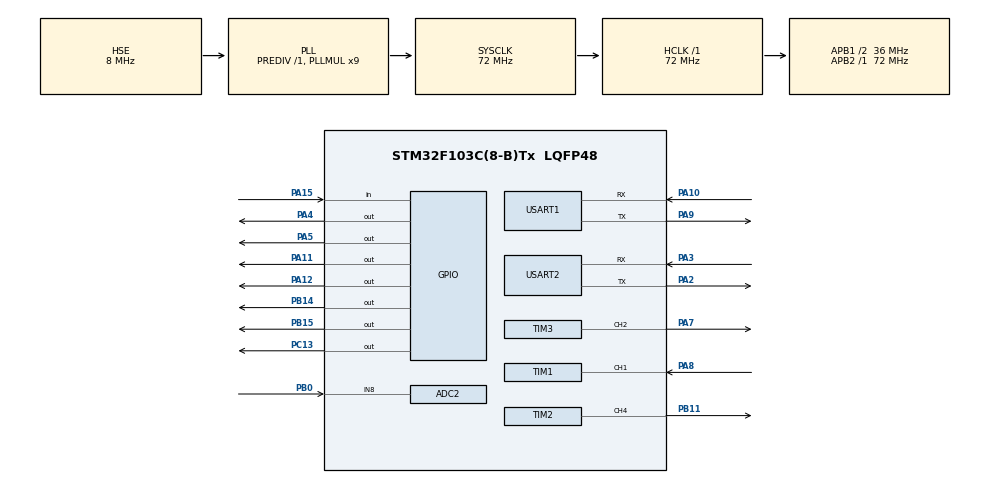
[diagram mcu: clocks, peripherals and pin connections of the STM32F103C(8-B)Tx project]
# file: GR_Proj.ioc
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ADC2.Channel-0\#ChannelRegularConversion=ADC_CHANNEL_8
ADC2.ContinuousConvMode=ENABLE
ADC2.NbrOfConversionFlag=1
ADC2.Rank-0\#ChannelRegularConversion=1
ADC2.SamplingTime-0\#ChannelRegularConversion=ADC_SAMPLETIME_1CYCLE_5
FREERTOS.BinarySemaphores01=myBinarySem01,Dynamic,NULL
FREERTOS.INCLUDE_xSemaphoreGetMutexHolder=1
FREERTOS.Tasks01=Move_Task,0,128,Start_Move_Task,Default,NULL,Dynamic,NULL,NULL;Temp_Task,0,128,StartTemp_Task,Default,NULL,Dynamic,NULL,NULL;Ultra_Task,0,128,Start_Ultra_Task,Default,NULL,Dynamic,NULL,NULL;Confirm_Task,-1,128,Start_Confirm_Task,Default,NULL,Dynamic,NULL,NULL
FREERTOS.configMAX_PRIORITIES=4
FREERTOS.configUSE_NEWLIB_REENTRANT=1
Mcu.Family=STM32F1
Mcu.Name=STM32F103C(8-B)Tx
Mcu.Package=LQFP48
NVIC.ADC1_2_IRQn=true\:5\:0\:false\:false\:true\:true\:true\:true\:true
NVIC.PVD_IRQn=true\:5\:0\:false\:false\:true\:false\:true\:true\:true
NVIC.PriorityGroup=NVIC_PRIORITYGROUP_4
NVIC.RCC_IRQn=true\:5\:0\:false\:false\:true\:false\:true\:false\:true
NVIC.TIM1_CC_IRQn=true\:5\:0\:false\:false\:true\:true\:true\:true\:true
NVIC.USART1_IRQn=true\:5\:0\:false\:false\:true\:true\:true\:true\:true
PA10.Mode=Asynchronous
PA10.Signal=USART1_RX
PA11.Signal=GPIO_Output
PA12.Signal=GPIO_Output
PA13.Mode=Serial_Wire
PA13.Signal=SYS_JTMS-SWDIO
PA14.Mode=Serial_Wire
PA14.Signal=SYS_JTCK-SWCLK
PA15.Signal=GPIO_Input
PA2.Mode=Asynchronous
PA2.Signal=USART2_TX
PA3.Mode=Asynchronous
PA3.Signal=USART2_RX
PA4.Signal=GPIO_Output
PA5.Signal=GPIO_Output
PA7.Signal=S_TIM3_CH2
PA8.Signal=S_TIM1_CH1
PA9.Mode=Asynchronous
PA9.Signal=USART1_TX
PB0.Signal=ADCx_IN8
PB11.Signal=S_TIM2_CH4
PB14.Signal=GPIO_Output
PB15.Signal=GPIO_Output
PC13-TAMPER-RTC.Signal=GPIO_Output
PD0-OSC_IN.Mode=HSE-External-Oscillator
PD0-OSC_IN.Signal=RCC_OSC_IN
PD1-OSC_OUT.Mode=HSE-External-Oscillator
PD1-OSC_OUT.Signal=RCC_OSC_OUT
ProjectManager.HeapSize=0x200
ProjectManager.StackSize=0x400
ProjectManager.TargetToolchain=STM32CubeIDE
RCC.ADCPresc=RCC_ADCPCLK2_DIV6
RCC.AHBFreq_Value=72000000
RCC.APB1CLKDivider=RCC_HCLK_DIV2
RCC.APB1Freq_Value=36000000
RCC.APB1TimFreq_Value=72000000
RCC.APB2Freq_Value=72000000
RCC.APB2TimFreq_Value=72000000
RCC.HCLKFreq_Value=72000000
RCC.PLLMUL=RCC_PLL_MUL9
RCC.PLLSourceVirtual=RCC_PLLSOURCE_HSE
RCC.SYSCLKFreq_VALUE=72000000
RCC.SYSCLKSource=RCC_SYSCLKSOURCE_PLLCLK
RCC.USBFreq_Value=72000000
SH.ADCx_IN8.0=ADC2_IN8,IN8
SH.S_TIM1_CH1.0=TIM1_CH1,Input_Capture1_from_TI1
SH.S_TIM2_CH4.0=TIM2_CH4,PWM Generation4 CH4
SH.S_TIM3_CH2.0=TIM3_CH2,PWM Generation2 CH2
TIM1.Channel-Input_Capture1_from_TI1=TIM_CHANNEL_1
TIM1.Period=0xffff-1
TIM1.Prescaler=72-1
TIM2.Channel-PWM\ Generation4\ CH4=TIM_CHANNEL_4
TIM2.CounterMode=TIM_COUNTERMODE_UP
TIM2.Period=100
TIM2.Prescaler=2000
TIM2.Pulse-PWM\ Generation4\ CH4=100
TIM3.Channel-PWM\ Generation2\ CH2=TIM_CHANNEL_2
TIM3.Period=100
TIM3.Prescaler=2000
TIM3.Pulse-PWM\ Generation2\ CH2=100
USART1.VirtualMode=VM_ASYNC
VP_FREERTOS_VS_CMSIS_V1.Mode=CMSIS_V1
board=custom

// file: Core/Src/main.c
/* USER CODE BEGIN Header */
/**
 ******************************************************************************
 * @file           : main.c
 * @brief          : Main program body
 ******************************************************************************
 * @attention
 *
 * <h2><center>&copy; Copyright (c) 2023 STMicroelectronics.
 * All rights reserved.</center></h2>
 *
 * This software component is licensed by ST under BSD 3-Clause license,
 * the "License"; You may not use this file except in compliance with the
 * License. You may obtain a copy of the License at:
 *                        opensource.org/licenses/BSD-3-Clause
 *
 ******************************************************************************
 */
/* USER CODE END Header */
#include "main.h"
#include "cmsis_os.h"

/* USER CODE BEGIN Includes */
#include "GRProj_Config.h"

/* USER CODE END Includes */

int main(void)
{

	/* MCU Configuration--------------------------------------------------------*/

	/* Reset of all peripherals, Initializes the Flash interface and the Systick. */

	HAL_Init();

	/* Configure the system clock */
	SystemClock_Config();

	/* Initialize all configured peripherals */
	MX_GPIO_Init();
	MX_USART1_UART_Init();
	MX_USART2_UART_Init();
	MX_TIM2_Init();
	MX_TIM3_Init();
	MX_ADC2_Init();
	MX_TIM1_Init();
	/* USER CODE BEGIN 2 */
	Car_INIT(&car);

	HAL_ADC_Start(&hadc2);
	HAL_TIM_IC_Start(&htim1,TIM_CHANNEL_1);

	/* Create the semaphores(s) */
	/* definition and creation of myBinarySem01 */

	osSemaphoreDef(myBinarySem01);
	myBinarySem01Handle = osSemaphoreCreate(osSemaphore(myBinarySem01), 1);

	/* Create the EventGroup */
	/* definition and creation of myEventGroupHandle */
	myEventGroupHandle = xEventGroupCreate();

	/* Create the thread(s) */
	/* definition and creation of Confirm_Task */
	osThreadDef(Confirm_Task, Start_Confirm_Task, osPriorityNormal, 0, 128);
	Confirm_TaskHandle = osThreadCreate(osThread(Confirm_Task), NULL);

	/* definition and creation of Move_Task */
	osThreadDef(Move_Task, Start_Move_Task, osPriorityAboveNormal, 0, 128);
	Move_TaskHandle = osThreadCreate(osThread(Move_Task), NULL);

	/* definition and creation of Temp_Task */
	osThreadDef(Temp_Task, StartTemp_Task, osPriorityHigh, 0, 128);
	Temp_TaskHandle = osThreadCreate(osThread(Temp_Task), NULL);

	/* definition and creation of Ultra_Task */
	osThreadDef(Ultra_Task, Start_Ultra_Task, osPriorityHigh, 0, 128);
	Ultra_TaskHandle = osThreadCreate(osThread(Ultra_Task), NULL);

	/* Start scheduler */
	osKernelStart();

	/* USER CODE END 2 */

	/* We should never get here as control is now taken by the scheduler */
	/* Infinite loop */
	while (1)
	{

	}
}

void SystemClock_Config(void)
{
	RCC_OscInitTypeDef RCC_OscInitStruct = {0};
	RCC_ClkInitTypeDef RCC_ClkInitStruct = {0};
	RCC_PeriphCLKInitTypeDef PeriphClkInit = {0};

	/** Initializes the RCC Oscillators according to the specified parameters
	 * in the RCC_OscInitTypeDef structure.
	 */
	RCC_OscInitStruct.OscillatorType = RCC_OSCILLATORTYPE_HSE;
	RCC_OscInitStruct.HSEState = RCC_HSE_ON;
	RCC_OscInitStruct.HSEPredivValue = RCC_HSE_PREDIV_DIV1;
	RCC_OscInitStruct.HSIState = RCC_HSI_ON;
	RCC_OscInitStruct.PLL.PLLState = RCC_PLL_ON;
	RCC_OscInitStruct.PLL.PLLSource = RCC_PLLSOURCE_HSE;
	RCC_OscInitStruct.PLL.PLLMUL = RCC_PLL_MUL9;
	if (HAL_RCC_OscConfig(&RCC_OscInitStruct) != HAL_OK)
	{
		Error_Handler();
	}

	/** Initializes the CPU, AHB and APB buses clocks
	 */
	RCC_ClkInitStruct.ClockType = RCC_CLOCKTYPE_HCLK|RCC_CLOCKTYPE_SYSCLK
			|RCC_CLOCKTYPE_PCLK1|RCC_CLOCKTYPE_PCLK2;
	RCC_ClkInitStruct.SYSCLKSource = RCC_SYSCLKSOURCE_PLLCLK;
	RCC_ClkInitStruct.AHBCLKDivider = RCC_SYSCLK_DIV1;
	RCC_ClkInitStruct.APB1CLKDivider = RCC_HCLK_DIV2;
	RCC_ClkInitStruct.APB2CLKDivider = RCC_HCLK_DIV1;

	if (HAL_RCC_ClockConfig(&RCC_ClkInitStruct, FLASH_LATENCY_2) != HAL_OK)
	{
		Error_Handler();
	}
	PeriphClkInit.PeriphClockSelection = RCC_PERIPHCLK_ADC;
	PeriphClkInit.AdcClockSelection = RCC_ADCPCLK2_DIV6;
	if (HAL_RCCEx_PeriphCLKConfig(&PeriphClkInit) != HAL_OK)
	{
		Error_Handler();
	}
}

static void MX_ADC2_Init(void)
{

	ADC_ChannelConfTypeDef sConfig = {0};

	/** Common config
	 */
	hadc2.Instance = ADC2;
	hadc2.Init.ScanConvMode = ADC_SCAN_DISABLE;
	hadc2.Init.ContinuousConvMode = ENABLE;
	hadc2.Init.DiscontinuousConvMode = DISABLE;
	hadc2.Init.ExternalTrigConv = ADC_SOFTWARE_START;
	hadc2.Init.DataAlign = ADC_DATAALIGN_RIGHT;
	hadc2.Init.NbrOfConversion = 1;
	if (HAL_ADC_Init(&hadc2) != HAL_OK)
	{
		Error_Handler();
	}

	/** Configure Regular Channel
	 */
	sConfig.Channel = ADC_CHANNEL_8;
	sConfig.Rank = ADC_REGULAR_RANK_1;
	sConfig.SamplingTime = ADC_SAMPLETIME_1CYCLE_5;
	if (HAL_ADC_ConfigChannel(&hadc2, &sConfig) != HAL_OK)
	{
		Error_Handler();
	}

}

static void MX_TIM1_Init(void)
{

	TIM_MasterConfigTypeDef sMasterConfig = {0};
	TIM_IC_InitTypeDef sConfigIC = {0};

	htim1.Instance = TIM1;
	htim1.Init.Prescaler = 72-1;
	htim1.Init.CounterMode = TIM_COUNTERMODE_UP;
	htim1.Init.Period = 0xffff-1;
	htim1.Init.ClockDivision = TIM_CLOCKDIVISION_DIV1;
	htim1.Init.RepetitionCounter = 0;
	htim1.Init.AutoReloadPreload = TIM_AUTORELOAD_PRELOAD_DISABLE;
	if (HAL_TIM_IC_Init(&htim1) != HAL_OK)
	{
		Error_Handler();
	}
	sMasterConfig.MasterOutputTrigger = TIM_TRGO_RESET;
	sMasterConfig.MasterSlaveMode = TIM_MASTERSLAVEMODE_DISABLE;
	if (HAL_TIMEx_MasterConfigSynchronization(&htim1, &sMasterConfig) != HAL_OK)
	{
		Error_Handler();
	}
	sConfigIC.ICPolarity = TIM_INPUTCHANNELPOLARITY_RISING;
	sConfigIC.ICSelection = TIM_ICSELECTION_DIRECTTI;
	sConfigIC.ICPrescaler = TIM_ICPSC_DIV1;
	sConfigIC.ICFilter = 0;
	if (HAL_TIM_IC_ConfigChannel(&htim1, &sConfigIC, TIM_CHANNEL_1) != HAL_OK)
	{
		Error_Handler();
	}

}

static void MX_TIM2_Init(void)
{

	TIM_MasterConfigTypeDef sMasterConfig = {0};
	TIM_OC_InitTypeDef sConfigOC = {0};

	htim2.Instance = TIM2;
	htim2.Init.Prescaler = 2000;
	htim2.Init.CounterMode = TIM_COUNTERMODE_UP;
	htim2.Init.Period = 100;
	htim2.Init.ClockDivision = TIM_CLOCKDIVISION_DIV1;
	htim2.Init.AutoReloadPreload = TIM_AUTORELOAD_PRELOAD_DISABLE;
	if (HAL_TIM_PWM_Init(&htim2) != HAL_OK)
	{
		Error_Handler();
	}
	sMasterConfig.MasterOutputTrigger = TIM_TRGO_RESET;
	sMasterConfig.MasterSlaveMode = TIM_MASTERSLAVEMODE_DISABLE;
	if (HAL_TIMEx_MasterConfigSynchronization(&htim2, &sMasterConfig) != HAL_OK)
	{
		Error_Handler();
	}
	sConfigOC.OCMode = TIM_OCMODE_PWM1;
	sConfigOC.Pulse = 100;
	sConfigOC.OCPolarity = TIM_OCPOLARITY_HIGH;
	sConfigOC.OCFastMode = TIM_OCFAST_DISABLE;
	if (HAL_TIM_PWM_ConfigChannel(&htim2, &sConfigOC, TIM_CHANNEL_4) != HAL_OK)
	{
		Error_Handler();
	}
	HAL_TIM_MspPostInit(&htim2);

}

static void MX_TIM3_Init(void)
{

	TIM_MasterConfigTypeDef sMasterConfig = {0};
	TIM_OC_InitTypeDef sConfigOC = {0};

	htim3.Instance = TIM3;
	htim3.Init.Prescaler = 2000;
	htim3.Init.CounterMode = TIM_COUNTERMODE_UP;
	htim3.Init.Period = 100;
	htim3.Init.ClockDivision = TIM_CLOCKDIVISION_DIV1;
	htim3.Init.AutoReloadPreload = TIM_AUTORELOAD_PRELOAD_DISABLE;
	if (HAL_TIM_PWM_Init(&htim3) != HAL_OK)
	{
		Error_Handler();
	}
	sMasterConfig.MasterOutputTrigger = TIM_TRGO_RESET;
	sMasterConfig.MasterSlaveMode = TIM_MASTERSLAVEMODE_DISABLE;
	if (HAL_TIMEx_MasterConfigSynchronization(&htim3, &sMasterConfig) != HAL_OK)
	{
		Error_Handler();
	}
	sConfigOC.OCMode = TIM_OCMODE_PWM1;
	sConfigOC.Pulse = 100;
	sConfigOC.OCPolarity = TIM_OCPOLARITY_HIGH;
	sConfigOC.OCFastMode = TIM_OCFAST_DISABLE;
	if (HAL_TIM_PWM_ConfigChannel(&htim3, &sConfigOC, TIM_CHANNEL_2) != HAL_OK)
	{
		Error_Handler();
	}
	HAL_TIM_MspPostInit(&htim3);

}

static void MX_USART1_UART_Init(void)
{

	huart1.Instance = USART1;
	huart1.Init.BaudRate = 115200;
	huart1.Init.WordLength = UART_WORDLENGTH_8B;
	huart1.Init.StopBits = UART_STOPBITS_1;
	huart1.Init.Parity = UART_PARITY_NONE;
	huart1.Init.Mode = UART_MODE_TX_RX;
	huart1.Init.HwFlowCtl = UART_HWCONTROL_NONE;
	huart1.Init.OverSampling = UART_OVERSAMPLING_16;
	if (HAL_UART_Init(&huart1) != HAL_OK)
	{
		Error_Handler();
	}

}

static void MX_USART2_UART_Init(void)
{

	huart2.Instance = USART2;
	huart2.Init.BaudRate = 115200;
	huart2.Init.WordLength = UART_WORDLENGTH_8B;
	huart2.Init.StopBits = UART_STOPBITS_1;
	huart2.Init.Parity = UART_PARITY_NONE;
	huart2.Init.Mode = UART_MODE_TX_RX;
	huart2.Init.HwFlowCtl = UART_HWCONTROL_NONE;
	huart2.Init.OverSampling = UART_OVERSAMPLING_16;
	if (HAL_UART_Init(&huart2) != HAL_OK)
	{
		Error_Handler();
	}

}

static void MX_GPIO_Init(void)
{
	GPIO_InitTypeDef GPIO_InitStruct = {0};

	/* GPIO Ports Clock Enable */
	__HAL_RCC_GPIOC_CLK_ENABLE();
	__HAL_RCC_GPIOD_CLK_ENABLE();
	__HAL_RCC_GPIOA_CLK_ENABLE();
	__HAL_RCC_GPIOB_CLK_ENABLE();

	/*Configure GPIO pin Output Level */
	HAL_GPIO_WritePin(GPIOC, GPIO_PIN_13, GPIO_PIN_RESET);

	/*Configure GPIO pin Output Level */
	HAL_GPIO_WritePin(GPIOA, GPIO_PIN_4|GPIO_PIN_5|GPIO_PIN_11|GPIO_PIN_12, GPIO_PIN_RESET);

	/*Configure GPIO pin Output Level */
	HAL_GPIO_WritePin(GPIOB, GPIO_PIN_14|GPIO_PIN_15, GPIO_PIN_RESET);

	/*Configure GPIO pin : PC13 */
	GPIO_InitStruct.Pin = GPIO_PIN_13;
	GPIO_InitStruct.Mode = GPIO_MODE_OUTPUT_PP;
	GPIO_InitStruct.Pull = GPIO_NOPULL;
	GPIO_InitStruct.Speed = GPIO_SPEED_FREQ_LOW;
	HAL_GPIO_Init(GPIOC, &GPIO_InitStruct);

	/*Configure GPIO pins : PA4 PA5 PA11 PA12 */
	GPIO_InitStruct.Pin = GPIO_PIN_4|GPIO_PIN_5|GPIO_PIN_11|GPIO_PIN_12;
	GPIO_InitStruct.Mode = GPIO_MODE_OUTPUT_PP;
	GPIO_InitStruct.Pull = GPIO_NOPULL;
	GPIO_InitStruct.Speed = GPIO_SPEED_FREQ_LOW;
	HAL_GPIO_Init(GPIOA, &GPIO_InitStruct);

	/*Configure GPIO pins : PB14 PB15 */
	GPIO_InitStruct.Pin = GPIO_PIN_14|GPIO_PIN_15;
	GPIO_InitStruct.Mode = GPIO_MODE_OUTPUT_PP;
	GPIO_InitStruct.Pull = GPIO_NOPULL;
	GPIO_InitStruct.Speed = GPIO_SPEED_FREQ_LOW;
	HAL_GPIO_Init(GPIOB, &GPIO_InitStruct);

	/*Configure GPIO pin : PA15 */
	GPIO_InitStruct.Pin = GPIO_PIN_15;
	GPIO_InitStruct.Mode = GPIO_MODE_INPUT;
	GPIO_InitStruct.Pull = GPIO_NOPULL;
	HAL_GPIO_Init(GPIOA, &GPIO_InitStruct);

}

/* USER CODE BEGIN 4 */

void Buzzer_ON(void)
{
	HAL_GPIO_WritePin(GPIOA, GPIO_PIN_11, 1);
}

/**
 * @brief Buzzer OFF Function
 * @param None
 * @retval None
 */
void Buzzer_OFF(void)
{
	HAL_GPIO_WritePin(GPIOA, GPIO_PIN_11, 0);
}

/**
 * @brief ADC2 Initialization Function
 * @param None
 * @retval None
 */

// Let's write the callback function
void delay(uint16_t time)
{
	__HAL_TIM_SET_COUNTER(&htim1,0);
	while(__HAL_TIM_GET_COUNTER(&htim1)<time);
}

void HAL_TIM_IC_CaptureCallback(TIM_HandleTypeDef *htim)
{
	if (htim->Channel == HAL_TIM_ACTIVE_CHANNEL_1)  // if the interrupt source is channel1
	{
		if (Is_First_Captured==0) // if the first value is not captured
		{
			IC_Val1 = HAL_TIM_ReadCapturedValue(htim, TIM_CHANNEL_1); // read the first value
			Is_First_Captured = 1;  // set the first captured as true
			// Now change the polarity to falling edge
			__HAL_TIM_SET_CAPTUREPOLARITY(htim, TIM_CHANNEL_1, TIM_INPUTCHANNELPOLARITY_FALLING);
		}

		else if (Is_First_Captured==1)   // if the first is already captured
		{
			IC_Val2 = HAL_TIM_ReadCapturedValue(htim, TIM_CHANNEL_1);  // read second value
			__HAL_TIM_SET_COUNTER(htim, 0);  // reset the counter

			if (IC_Val2 > IC_Val1)
			{
				Difference = IC_Val2-IC_Val1;
			}

			else if (IC_Val1 > IC_Val2)
			{
				Difference = (0xffff - IC_Val1) + IC_Val2;
			}

			distance = Difference * .034/2;
			Is_First_Captured = 0; // set it back to false

			// set polarity to rising edge
			__HAL_TIM_SET_CAPTUREPOLARITY(htim, TIM_CHANNEL_1, TIM_INPUTCHANNELPOLARITY_RISING);
			__HAL_TIM_DISABLE_IT(&htim1, TIM_IT_CC1);
		}
	}
}

void HCSR04_Read (void)
{
	HAL_GPIO_WritePin(TRIG_PORT, TRIG_PIN, GPIO_PIN_SET);  // pull the TRIG pin HIGH
	delay(10);  // wait for 10 us
	//HAL_Delay(10);
	HAL_GPIO_WritePin(TRIG_PORT, TRIG_PIN, GPIO_PIN_RESET);  // pull the TRIG pin low
	__HAL_TIM_ENABLE_IT(&htim1, TIM_IT_CC1);
}

/* USER CODE END 4 */

void Start_Move_Task(void const * argument)
{
	/* USER CODE BEGIN 5 */
	while(1)
	{
		EventBits_t uxBits;
		uxBits = xEventGroupWaitBits(myEventGroupHandle,BIT_0 ,pdFALSE,pdFALSE,( TickType_t )100);
		if( ( uxBits & BIT_0  ) == BIT_0  )
		{
			xSemaphoreTake(myBinarySem01Handle,( TickType_t )10);
			HAL_GPIO_WritePin(GPIOC, GPIO_PIN_13, 1);
			Buzzer_OFF();
			HCSR04_Read();
			if(distance < 20.0)
			{
				xEventGroupSetBits(myEventGroupHandle, BIT_2);
			}
			else
			{
				Buzzer_OFF();
				HAL_UART_Receive(&huart1, &mov, 1, 0x100);
//				Car_Set_Speed(&car, 40);

				switch(mov)
				{
				case 'w':
					Car_Set_Speed(&car, 40);
					Car_Forward(&car);
					osDelay(1);
					break;
				case 'd':
					Car_Set_Speed(&car, 80);
					Car_Right(&car);
					osDelay(1);
					break;
				case 'a':
					Car_Set_Speed(&car, 80);
					Car_left(&car);
					osDelay(1);
					break;
				case 's':
					Car_Set_Speed(&car, 40);
					Car_Stop(&car);
					osDelay(1);
					break;

				}

			}
			osDelay(1);
		}
	}

	/* USER CODE END 5 */
}

void StartTemp_Task(void const * argument)
{
	/* USER CODE BEGIN StartTemp_Task */
	/* Infinite loop */
	while(1)
	{
		EventBits_t uxBits;
		uxBits = xEventGroupWaitBits(myEventGroupHandle,BIT_1,pdTRUE,pdTRUE,( TickType_t )100);
		if( (uxBits & BIT_1 ) ==  BIT_1 )
		{
			while(temperature > 50.0)
			{
				//Read_temp();
				HAL_GPIO_WritePin(GPIOC, GPIO_PIN_13, 0);
				Car_Stop(&car);
				Buzzer_ON();
				//HAL_UART_Transmit(&huart1, (uint8_t*)'t', 1, 0x300);
			}
			osDelay(1);
		}
	}
	/* USER CODE END StartTemp_Task */
}

void Start_Ultra_Task(void const * argument)
{
	/* USER CODE BEGIN Start_Ultra_Task */
	/* Infinite loop */
	while(1)
	{
		EventBits_t uxBits;
		uxBits = xEventGroupWaitBits(myEventGroupHandle,BIT_2 ,pdTRUE,pdTRUE,( TickType_t )100);
		if( (uxBits & BIT_2 ) == BIT_2 )
		{
			while(distance < 20.0)
			{
				HCSR04_Read();
				HAL_GPIO_WritePin(GPIOC, GPIO_PIN_13, 0);
				Car_Stop(&car);
				Buzzer_OFF();
			}
			osDelay(1);
		}
	}
	/* USER CODE END Start_Ultra_Task */
}

void Start_Confirm_Task(void const * argument)
{
	/* USER CODE BEGIN Start_Confirm_Task */
	/* Infinite loop */
	while(1)
	{
		HCSR04_Read();
		if(distance < 20.0)
		{
			xEventGroupSetBits(myEventGroupHandle, BIT_2);
		}
		else
		{
			xSemaphoreTake(myBinarySem01Handle,( TickType_t )10);
			Buzzer_OFF();
			Car_Stop(&car);
			HAL_UART_Receive(&huart1, &conf, 1,0x100);

			if(conf == 't')//all is true
			{
				xSemaphoreGive(myBinarySem01Handle);
				xEventGroupSetBits(myEventGroupHandle, BIT_0);
				osThreadTerminate(Confirm_TaskHandle);
			}

			else if(conf == 'f' && conf != '\0')//some thing is wrong
			{
				while(conf == 'f')
				{
					HAL_UART_Receive(&huart1, &conf, 1, 0X100);
					Buzzer_ON();
				}
			}

			osDelay(1);
		}
	}
	/* USER CODE END Start_Confirm_Task */
}

void Error_Handler(void)
{
}

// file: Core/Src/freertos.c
/* USER CODE BEGIN Header */
/**
  ******************************************************************************
  * File Name          : freertos.c
  * Description        : Code for freertos applications
  ******************************************************************************
  * @attention
  *
  * <h2><center>&copy; Copyright (c) 2023 STMicroelectronics.
  * All rights reserved.</center></h2>
  *
  * This software component is licensed by ST under Ultimate Liberty license
  * SLA0044, the "License"; You may not use this file except in compliance with
  * the License. You may obtain a copy of the License at:
  *                             www.st.com/SLA0044
  *
  ******************************************************************************
  */
/* USER CODE END Header */

#include "FreeRTOS.h"
#include "task.h"
#include "main.h"

/* GetIdleTaskMemory prototype (linked to static allocation support) */
void vApplicationGetIdleTaskMemory( StaticTask_t **ppxIdleTaskTCBBuffer, StackType_t **ppxIdleTaskStackBuffer, uint32_t *pulIdleTaskStackSize );

/* USER CODE BEGIN GET_IDLE_TASK_MEMORY */
static StaticTask_t xIdleTaskTCBBuffer;
static StackType_t xIdleStack[configMINIMAL_STACK_SIZE];

void vApplicationGetIdleTaskMemory( StaticTask_t **ppxIdleTaskTCBBuffer, StackType_t **ppxIdleTaskStackBuffer, uint32_t *pulIdleTaskStackSize )
{
  *ppxIdleTaskTCBBuffer = &xIdleTaskTCBBuffer;
  *ppxIdleTaskStackBuffer = &xIdleStack[0];
  *pulIdleTaskStackSize = configMINIMAL_STACK_SIZE;
  /* place for user code */
}
/* USER CODE END GET_IDLE_TASK_MEMORY */
